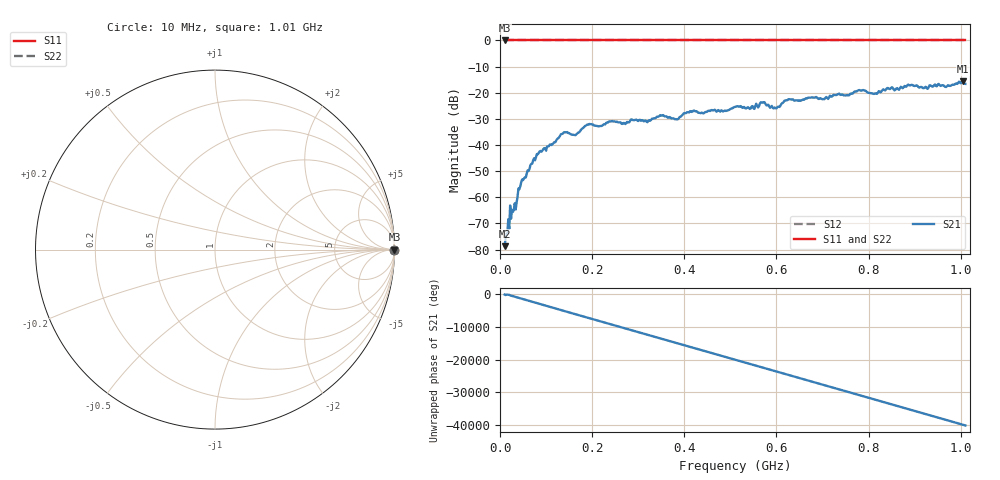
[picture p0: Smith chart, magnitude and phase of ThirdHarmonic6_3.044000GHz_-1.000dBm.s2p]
! 8/17/2025 8:49:31 AM
! C:\ANRITSUVNA\TEMP\TEMP.S2P
! CHANNEL.1
! TR.MEASUREMENT
! RAW.DATA
! RF.CORRECTION.OFF
! AVERAGING.OFF
! IF.BANDWIDTH: 5KHZ
! SWEEPTYPE:  FREQ.SWEEP(Linear)
! Reference Plane Port Info
! PORT:  PORT1  PORT2
! DISTANCE:  0  m  0  m
! TIME:  0  s  0  s
! PHASE.OFFSET:  0  deg.  0  deg.
! LOSS:  0  dB  0  dB
! REF.LOSS:  0  dB  0  dB
! REF.FREQ:  0  Hz  0  Hz
! Power Info
! POWER:  -20  dBm  -20  dBm
! EFF.POWER:  -20  dBm  -20  dBm
! SOURCE.ATTEN:  0  dB  0  dB
! TEST.ATTEN:  0  dB  0  dB
# GHZ S RI R 50.0
! FREQ.GHZ  S11RE  S11IM  S21RE  S21IM  S12RE  S12IM  S22RE  S22IM
!; PortSelection: Port_12
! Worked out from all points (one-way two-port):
!   501 points, 10 MHz to 1.01 GHz, reference 50 ohm
!   highest |S21| = -15.64 dB at 1.004 GHz (marker M1); lowest = -78.7 dB at 10 MHz (marker M2)
!   lowest |S11| = 0.0 dB at 10 MHz (marker M3)
!   |S11| at or under -10 dB: nowhere
!   |S22| runs from 0.0 to 0.0 dB; largest |S21 - S12| = 1.2
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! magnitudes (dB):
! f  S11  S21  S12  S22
! 10 MHz  0.0  -78.7  0.0  0.0
! 22 MHz  0.0  -63.1  0.0  0.0
! 32 MHz  0.0  -62.3  0.0  0.0
! 44 MHz  0.0  -55.8  0.0  0.0
! 76 MHz  0.0  -45.8  0.0  0.0
! 136 MHz  0.0  -35.7  0.0  0.0
! 162 MHz  0.0  -36.2  0.0  0.0
! 178 MHz  0.0  -33.8  0.0  0.0
! 344 MHz  0.0  -29.2  0.0  0.0
! 384 MHz  0.0  -30.2  0.0  0.0
! 416 MHz  0.0  -27.3  0.0  0.0
! 510 MHz  0.0  -25.4  0.0  0.0
! 548 MHz  0.0  -25.1  0.0  0.0
! 570 MHz  0.0  -23.8  0.0  0.0
! 596 MHz  0.0  -25.6  0.0  0.0
! 624 MHz  0.0  -22.8  0.0  0.0
! 678 MHz  0.0  -21.8  0.0  0.0
! 782 MHz  0.0  -19.1  0.0  0.0
! 814 MHz  0.0  -20.2  0.0  0.0
! 844 MHz  0.0  -18.5  0.0  0.0
! 1.004 GHz  0.0  -15.6  0.0  0.0
! 1.01 GHz  0.0  -16.6  0.0  0.0
